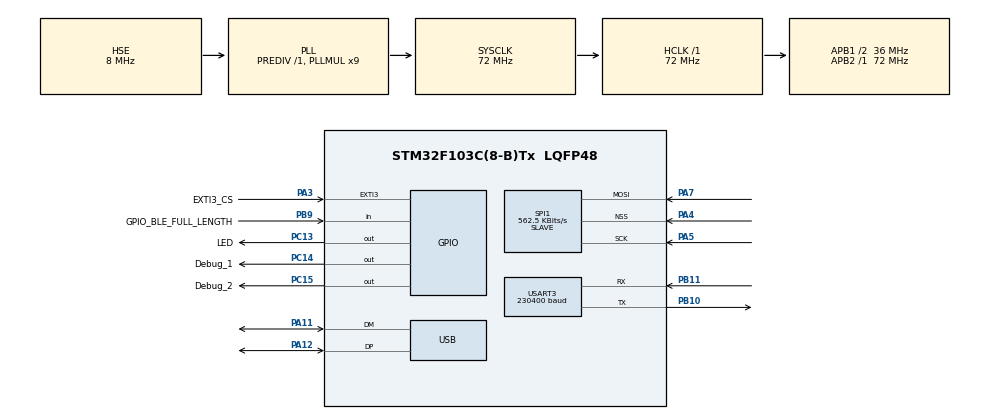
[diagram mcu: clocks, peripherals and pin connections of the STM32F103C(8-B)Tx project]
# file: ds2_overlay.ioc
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Mcu.Family=STM32F1
NVIC.USART3_IRQn=true\:2\:0\:true\:false\:true\:true\:true
RCC.PLLSourceVirtual=RCC_PLLSOURCE_HSE
USB_DEVICE.CLASS_NAME_FS=CDC
PA7.Mode=RX_Only_Simplex_Unidirect_Slave
PD1-OSC_OUT.Mode=HSE-External-Oscillator
PB9.GPIO_Label=GPIO_BLE_FULL_LENGTH
SPI1.VirtualType=VM_SLAVE
PB10.Mode=Asynchronous
USB_DEVICE.VirtualModeFS=Cdc_FS
USB_DEVICE.PID_CDC_FS=765
PA3.GPIO_PuPd=GPIO_NOPULL
NVIC.EXTI3_IRQn=true\:0\:0\:false\:false\:true\:true\:true
PC13-TAMPER-RTC.Signal=GPIO_Output
RCC.USBPrescaler=RCC_USBCLKSOURCE_PLL_DIV1_5
PA11.Mode=Device
SPI1.CLKPhase=SPI_PHASE_2EDGE
PD0-OSC_IN.Signal=RCC_OSC_IN
RCC.APB1CLKDivider=RCC_HCLK_DIV2
PC14-OSC32_IN.Signal=GPIO_Output
PB11.Signal=USART3_RX
VP_SYS_VS_ND.Mode=No_Debug
PC15-OSC32_OUT.GPIO_Label=Debug_2
RCC.SYSCLKSource=RCC_SYSCLKSOURCE_PLLCLK
ProjectManager.StackSize=0x400
PD1-OSC_OUT.Signal=RCC_OSC_OUT
PA3.GPIO_ModeDefaultEXTI=GPIO_MODE_IT_RISING_FALLING
USB_DEVICE.MANUFACTURER_STRING=Re-Alise
PA12.Signal=USB_DP
SPI1.CLKPolarity=SPI_POLARITY_HIGH
USART3.BaudRate=230400
PB11.Mode=Asynchronous
PA4.Mode=NSS_Signal_Hard_Input
ProjectManager.TargetToolchain=STM32CubeIDE
USB_DEVICE.PRODUCT_STRING_CDC_FS=Dualshock 2 Sniffer?
SPI1.Direction=SPI_DIRECTION_2LINES_RXONLY
RCC.HCLKFreq_Value=72000000
VP_USB_DEVICE_VS_USB_DEVICE_CDC_FS.Mode=CDC_FS
RCC.APB2TimFreq_Value=72000000
SPI1.CalculateBaudRate=562.5 KBits/s
RCC.USBFreq_Value=48000000
PC15-OSC32_OUT.Signal=GPIO_Output
PA7.GPIO_PuPd=GPIO_NOPULL
RCC.AHBFreq_Value=72000000
PD0-OSC_IN.Mode=HSE-External-Oscillator
PB10.Signal=USART3_TX
PA5.Signal=SPI1_SCK
PA4.GPIO_PuPd=GPIO_NOPULL
board=custom
PC13-TAMPER-RTC.GPIO_Label=LED
RCC.PLLMUL=RCC_PLL_MUL9
NVIC.SPI1_IRQn=true\:0\:0\:false\:false\:true\:true\:true
RCC.APB2Freq_Value=72000000
PC13-TAMPER-RTC.PinState=GPIO_PIN_SET
SPI1.Mode=SPI_MODE_SLAVE
NVIC.USB_LP_CAN1_RX0_IRQn=true\:0\:0\:false\:false\:true\:false\:true
SPI1.VirtualNSS=VM_NSSHARD
SPI1.FirstBit=SPI_FIRSTBIT_LSB
PC13-TAMPER-RTC.GPIO_Speed=GPIO_SPEED_FREQ_HIGH
Mcu.Name=STM32F103C(8-B)Tx
PC14-OSC32_IN.GPIO_Speed=GPIO_SPEED_FREQ_HIGH
PA4.Signal=SPI1_NSS
RCC.SYSCLKFreq_VALUE=72000000
Mcu.Package=LQFP48
PB9.Signal=GPIO_Input
USART3.Mode=MODE_TX
PA12.Mode=Device
USART3.VirtualMode=VM_ASYNC
PA11.Signal=USB_DM
PB9.GPIO_PuPd=GPIO_PULLUP
ProjectManager.HeapSize=0x200
NVIC.PriorityGroup=NVIC_PRIORITYGROUP_4
RCC.APB1TimFreq_Value=72000000
PC14-OSC32_IN.GPIO_Label=Debug_1
PC15-OSC32_OUT.GPIO_Speed=GPIO_SPEED_FREQ_HIGH
RCC.APB1Freq_Value=36000000
SPI1.BaudRatePrescaler=SPI_BAUDRATEPRESCALER_128
USB_DEVICE.VirtualMode=Cdc
PA3.GPIO_Label=EXTI3_CS
PA3.Signal=GPXTI3
PA5.Mode=RX_Only_Simplex_Unidirect_Slave
PA7.Signal=SPI1_MOSI

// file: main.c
/* USER CODE BEGIN Header */
/**
 ******************************************************************************
 * @file           : main.c
 * @brief          : Main program body
 ******************************************************************************
 * @attention
 *
 * <h2><center>&copy; Copyright (c) 2021 STMicroelectronics.
 * All rights reserved.</center></h2>
 *
 * This software component is licensed by ST under Ultimate Liberty license
 * SLA0044, the "License"; You may not use this file except in compliance with
 * the License. You may obtain a copy of the License at:
 *                             www.st.com/SLA0044
 *
 ******************************************************************************
 */
/* USER CODE END Header */
#include "main.h"
#include "usb_device.h"

/* USER CODE BEGIN Includes */
#include "usbd_cdc_if.h"
/* USER CODE END Includes */

SPI_HandleTypeDef hspi1;

UART_HandleTypeDef huart3;

/* USER CODE BEGIN PV */
volatile uint8_t rx_flag = 0;
const uint8_t usb_padding_byte = 0x45;
const uint8_t usb_padding_count = 0x45;
uint8_t command_byte_count = 0;
uint8_t ds_mode = 0;
uint8_t miso_data[24] = { 0 };
/* USER CODE END PV */

void SystemClock_Config(void);
static void MX_GPIO_Init(void);
static void MX_SPI1_Init(void);
static void MX_USART3_UART_Init(void);

int main(void)
{

  /* MCU Configuration--------------------------------------------------------*/

  /* Reset of all peripherals, Initializes the Flash interface and the Systick. */
  HAL_Init();

  /* Configure the system clock */
  SystemClock_Config();

  /* Initialize all configured peripherals */
  MX_GPIO_Init();
  MX_SPI1_Init();
  MX_USART3_UART_Init();
  MX_USB_DEVICE_Init();

  /* Infinite loop */
	while (1) {

    /* USER CODE BEGIN 3 */
		switch (rx_flag) {
		case 0:
			// Get first 3 bytes from MISO of controller
//			HAL_GPIO_TogglePin(GPIOC, GPIO_PIN_15);
//			HAL_GPIO_TogglePin(GPIOC, GPIO_PIN_15);
//			HAL_GPIO_TogglePin(GPIOC, GPIO_PIN_15);
			HAL_SPI_Receive_IT(&hspi1, miso_data, 3);
			rx_flag = 1;
			break;
		case 2:
			// First 3 bytes received
			if (miso_data[2] != 0x5A || miso_data[0] != 0xFF) {
				// Controller's changing mode (miso_data[2] == 0x00) or a corrupted data
				rx_flag = 9;
//				HAL_GPIO_TogglePin(GPIOC, GPIO_PIN_15);
//				HAL_GPIO_TogglePin(GPIOC, GPIO_PIN_15);
//				HAL_GPIO_TogglePin(GPIOC, GPIO_PIN_15);
//				HAL_GPIO_TogglePin(GPIOC, GPIO_PIN_15);
				break;
			}

			// Get current mode of controller
			// High nibble indicates the mode of the controller (4 for digital, 7 for analog, F for config mode)
			// Low nibble indicates the length of incoming **16 bit** data
			ds_mode = miso_data[1];
			command_byte_count = (ds_mode & 0x0F) * 2;
			if (ds_mode != 0x41 && ds_mode != 0x73 && ds_mode != 0x79) {
				// Controller's in config mode (miso_data[1] == 0xF3) or a corrupted data, abort
				rx_flag = 9;
//				HAL_GPIO_TogglePin(GPIOC, GPIO_PIN_15);
//				HAL_GPIO_TogglePin(GPIOC, GPIO_PIN_15);
//				HAL_GPIO_TogglePin(GPIOC, GPIO_PIN_15);
//				HAL_GPIO_TogglePin(GPIOC, GPIO_PIN_15);
//				HAL_GPIO_TogglePin(GPIOC, GPIO_PIN_15);
				break;
			}

			// Get the rest of bytes
			HAL_SPI_Receive_IT(&hspi1, &miso_data[3], command_byte_count);
//			HAL_GPIO_TogglePin(GPIOC, GPIO_PIN_14);
			rx_flag++;
			break;
		case 4:
			// Output data through bluetooth or USB serial
			// I excluded the first byte as a workaround for my HM-10's 20 byte MTU size, which can not be changed
//			HAL_GPIO_TogglePin(GPIOC, GPIO_PIN_15);
//			HAL_GPIO_TogglePin(GPIOC, GPIO_PIN_15);
			if (command_byte_count > 6) {
				if (HAL_GPIO_ReadPin(GPIOB, GPIO_PIN_9) == GPIO_PIN_RESET) {
					// Send full length data if both side of your bluetooth device can handle this
					HAL_UART_Transmit_IT(&huart3, &miso_data[1], command_byte_count + 2);
				} else {
					// Truncate pressure data to improve stability
					// But it still laggy sometime in my case, especially using other BLE device at the same time
					HAL_UART_Transmit_IT(&huart3, &miso_data[1], 8);
				}
			} else {
				// Send full length data
				HAL_UART_Transmit_IT(&huart3, &miso_data[1], command_byte_count + 2);
			}

			// Add padding 0x45 to the end of stream, since there is no way to know the end of data in serial communication in this case?
			memset(&miso_data[command_byte_count + 3], usb_padding_byte, usb_padding_count);
			CDC_Transmit_FS(&miso_data[1], command_byte_count + 5);
			rx_flag++;
			break;
		default:
			break;
		}
	}
  /* USER CODE END 3 */
}

void SystemClock_Config(void)
{
  RCC_OscInitTypeDef RCC_OscInitStruct = {0};
  RCC_ClkInitTypeDef RCC_ClkInitStruct = {0};
  RCC_PeriphCLKInitTypeDef PeriphClkInit = {0};

  /** Initializes the RCC Oscillators according to the specified parameters
  * in the RCC_OscInitTypeDef structure.
  */
  RCC_OscInitStruct.OscillatorType = RCC_OSCILLATORTYPE_HSE;
  RCC_OscInitStruct.HSEState = RCC_HSE_ON;
  RCC_OscInitStruct.HSEPredivValue = RCC_HSE_PREDIV_DIV1;
  RCC_OscInitStruct.HSIState = RCC_HSI_ON;
  RCC_OscInitStruct.PLL.PLLState = RCC_PLL_ON;
  RCC_OscInitStruct.PLL.PLLSource = RCC_PLLSOURCE_HSE;
  RCC_OscInitStruct.PLL.PLLMUL = RCC_PLL_MUL9;
  if (HAL_RCC_OscConfig(&RCC_OscInitStruct) != HAL_OK)
  {
    Error_Handler();
  }
  /** Initializes the CPU, AHB and APB buses clocks
  */
  RCC_ClkInitStruct.ClockType = RCC_CLOCKTYPE_HCLK|RCC_CLOCKTYPE_SYSCLK
                              |RCC_CLOCKTYPE_PCLK1|RCC_CLOCKTYPE_PCLK2;
  RCC_ClkInitStruct.SYSCLKSource = RCC_SYSCLKSOURCE_PLLCLK;
  RCC_ClkInitStruct.AHBCLKDivider = RCC_SYSCLK_DIV1;
  RCC_ClkInitStruct.APB1CLKDivider = RCC_HCLK_DIV2;
  RCC_ClkInitStruct.APB2CLKDivider = RCC_HCLK_DIV1;

  if (HAL_RCC_ClockConfig(&RCC_ClkInitStruct, FLASH_LATENCY_2) != HAL_OK)
  {
    Error_Handler();
  }
  PeriphClkInit.PeriphClockSelection = RCC_PERIPHCLK_USB;
  PeriphClkInit.UsbClockSelection = RCC_USBCLKSOURCE_PLL_DIV1_5;
  if (HAL_RCCEx_PeriphCLKConfig(&PeriphClkInit) != HAL_OK)
  {
    Error_Handler();
  }
}

static void MX_SPI1_Init(void)
{

  /* SPI1 parameter configuration*/
  hspi1.Instance = SPI1;
  hspi1.Init.Mode = SPI_MODE_SLAVE;
  hspi1.Init.Direction = SPI_DIRECTION_2LINES_RXONLY;
  hspi1.Init.DataSize = SPI_DATASIZE_8BIT;
  hspi1.Init.CLKPolarity = SPI_POLARITY_HIGH;
  hspi1.Init.CLKPhase = SPI_PHASE_2EDGE;
  hspi1.Init.NSS = SPI_NSS_HARD_INPUT;
  hspi1.Init.BaudRatePrescaler = SPI_BAUDRATEPRESCALER_128;
  hspi1.Init.FirstBit = SPI_FIRSTBIT_LSB;
  hspi1.Init.TIMode = SPI_TIMODE_DISABLE;
  hspi1.Init.CRCCalculation = SPI_CRCCALCULATION_DISABLE;
  hspi1.Init.CRCPolynomial = 10;
  if (HAL_SPI_Init(&hspi1) != HAL_OK)
  {
    Error_Handler();
  }

}

static void MX_USART3_UART_Init(void)
{

  huart3.Instance = USART3;
  huart3.Init.BaudRate = 230400;
  huart3.Init.WordLength = UART_WORDLENGTH_8B;
  huart3.Init.StopBits = UART_STOPBITS_1;
  huart3.Init.Parity = UART_PARITY_NONE;
  huart3.Init.Mode = UART_MODE_TX;
  huart3.Init.HwFlowCtl = UART_HWCONTROL_NONE;
  huart3.Init.OverSampling = UART_OVERSAMPLING_16;
  if (HAL_UART_Init(&huart3) != HAL_OK)
  {
    Error_Handler();
  }

}

static void MX_GPIO_Init(void)
{
  GPIO_InitTypeDef GPIO_InitStruct = {0};

  /* GPIO Ports Clock Enable */
  __HAL_RCC_GPIOC_CLK_ENABLE();
  __HAL_RCC_GPIOD_CLK_ENABLE();
  __HAL_RCC_GPIOA_CLK_ENABLE();
  __HAL_RCC_GPIOB_CLK_ENABLE();

  /*Configure GPIO pin Output Level */
  HAL_GPIO_WritePin(LED_GPIO_Port, LED_Pin, GPIO_PIN_SET);

  /*Configure GPIO pin Output Level */
  HAL_GPIO_WritePin(GPIOC, Debug_1_Pin|Debug_2_Pin, GPIO_PIN_RESET);

  /*Configure GPIO pins : LED_Pin Debug_1_Pin Debug_2_Pin */
  GPIO_InitStruct.Pin = LED_Pin|Debug_1_Pin|Debug_2_Pin;
  GPIO_InitStruct.Mode = GPIO_MODE_OUTPUT_PP;
  GPIO_InitStruct.Pull = GPIO_NOPULL;
  GPIO_InitStruct.Speed = GPIO_SPEED_FREQ_HIGH;
  HAL_GPIO_Init(GPIOC, &GPIO_InitStruct);

  /*Configure GPIO pin : EXTI3_CS_Pin */
  GPIO_InitStruct.Pin = EXTI3_CS_Pin;
  GPIO_InitStruct.Mode = GPIO_MODE_IT_RISING_FALLING;
  GPIO_InitStruct.Pull = GPIO_NOPULL;
  HAL_GPIO_Init(EXTI3_CS_GPIO_Port, &GPIO_InitStruct);

  /*Configure GPIO pin : GPIO_BLE_FULL_LENGTH_Pin */
  GPIO_InitStruct.Pin = GPIO_BLE_FULL_LENGTH_Pin;
  GPIO_InitStruct.Mode = GPIO_MODE_INPUT;
  GPIO_InitStruct.Pull = GPIO_PULLUP;
  HAL_GPIO_Init(GPIO_BLE_FULL_LENGTH_GPIO_Port, &GPIO_InitStruct);

  /* EXTI interrupt init*/
  HAL_NVIC_SetPriority(EXTI3_IRQn, 0, 0);
  HAL_NVIC_EnableIRQ(EXTI3_IRQn);

}

/* USER CODE BEGIN 4 */
void HAL_SPI_RxCpltCallback(SPI_HandleTypeDef *hspi) {
//	HAL_GPIO_TogglePin(GPIOC, GPIO_PIN_15);
	rx_flag++;
}

void HAL_UART_TxCpltCallback(UART_HandleTypeDef *huart) {
	HAL_GPIO_TogglePin(GPIOC, GPIO_PIN_13);
}

void HAL_GPIO_EXTI_Callback(uint16_t GPIO_Pin) {
	if (GPIO_Pin == GPIO_PIN_3) {
//		HAL_GPIO_TogglePin(GPIOC, GPIO_PIN_14);
		if (HAL_GPIO_ReadPin(GPIOA, GPIO_PIN_3) == GPIO_PIN_RESET) {
//			for (int i = 0; i < HAL_SPI_GetState(&hspi1); i++) {
//				HAL_GPIO_TogglePin(GPIOC, GPIO_PIN_14);
//			}
			if (HAL_SPI_GetState(&hspi1) != HAL_SPI_STATE_BUSY_RX) {
				// Should be always true in normal operation
				rx_flag = 0;
			}
		} else {
			if (HAL_SPI_GetState(&hspi1) == HAL_SPI_STATE_READY) {
				// Should be always true in normal operation
				HAL_SPI_Abort(&hspi1);
//				HAL_GPIO_TogglePin(GPIOC, GPIO_PIN_14);
			}
//			HAL_GPIO_TogglePin(GPIOC, GPIO_PIN_14);
		}
	}
}

//void HAL_SPI_ErrorCallback(SPI_HandleTypeDef *hspi) {
//	HAL_GPIO_WritePin(GPIOC, GPIO_PIN_13, GPIO_PIN_RESET);
//}
/* USER CODE END 4 */

void Error_Handler(void)
{
	__disable_irq();
	while (1) {
	}
}

/************************ (C) COPYRIGHT STMicroelectronics *****END OF FILE****/
